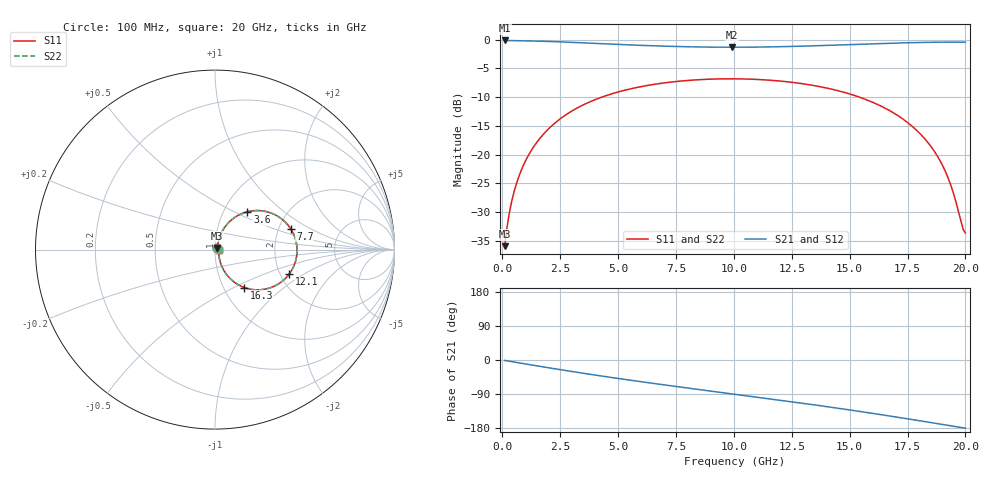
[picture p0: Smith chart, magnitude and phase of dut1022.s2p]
! Touchstone file exported from HFSS 2026.1.0
!  File:  C:/ffzhzh/LocalFiles/Ansys_Project_Files/temp_train_TSV_RDL_1022_1783292739_5512.aedt
!  Generated:  07:15:23 AM Jul  6, 2026
!  Design:  TSV_RDL
!  Project:  temp_train_TSV_RDL_1022_1783292739_5512
! Variables:
!  h_bsmrdl = 5.3um
!  h_ox = 20um
!  h_rdl = 5um
!  h_sub = 51.25um
!  h_tmrdl = 4.6um
!  h_tsv = 51.25um
!  h_via = 3um
!  l_bsmrdl = 672.38um
!  l_sub = 3262.74um
!  l_tmrdl = 179.54um
!  m_sub = 200um
!  pitch = 39.34um
!  r_tsv = 4.07um
!  s_tmrdl = 10um
!  w_bsmrdl = 20.37um
!  w_sub = 500um
!  w_tmrdl = 22.11um
!  x_tsv_center1 = 190.595um
!  x_tsv_center2 = 883.345um
!  x_tsv_center3 = 1084.995um
!  x_tsv_center4 = 1777.745um
!  x_tsv_center5 = 1979.395um
!  x_tsv_center6 = 2672.145um
# GHz S MA R 50.000000
! Terminal data exported
! Port[1] = TM_RDL1_1_T1
! Port[2] = TM_RDL5_1_T1
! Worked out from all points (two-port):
!   200 points, 100 MHz to 20 GHz, reference 50 ohm
!   highest |S21| = -0.11 dB at 100 MHz (marker M1); lowest = -1.3 dB at 9.9 GHz (marker M2)
!   |S21| within 3 dB of the highest: start of sweep to end of sweep
!   lowest |S11| = -36.0 dB at 100 MHz (marker M3), VSWR 1.03, Z = 51.3 + j0.958 ohm
!   |S11| at or under -10 dB: start of sweep to 4.292 GHz; 15.43 GHz to end of sweep
!   |S22| runs from -36.0 to -6.8 dB; largest |S21 - S12| = 1.7e-14
!   S11 on the Smith chart (normalised r, x): 100 MHz: 1.03, +0.02; 3.6 GHz: 1.29, +0.59; 7.7 GHz: 2.32, +0.67; 12.1 GHz: 2.23, -0.75; 16.3 GHz: 1.25, -0.57; 20 GHz: 1.04, -0.00
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0.1  0.01588 36.0  0.9873 -1.1  0.9873 -1.1  0.01588 36.0
! Gamma 0 0 0 0
! Port Impedance 50 0 50 0
0.3  0.03061 59.8  0.9857 -3.2  0.9857 -3.2  0.03061 59.8
0.5  0.04662 66.6  0.9845 -5.3  0.9845 -5.3  0.04662 66.6
0.8  0.07129 69.4  0.9824 -8.4  0.9824 -8.4  0.07129 69.4
1.1  0.09604 69.1  0.9797 -11.4  0.9797 -11.4  0.09604 69.1
2.1  0.1752 62.5  0.9665 -21.5  0.9665 -21.5  0.1752 62.5
3.5  0.2711 50.4  0.9407 -35.1  0.9407 -35.1  0.2711 50.4
3.6  0.2772 49.5  0.9388 -36.0  0.9388 -36.0  0.2772 49.5
5.1  0.3554 36.6  0.9098 -49.6  0.9098 -49.6  0.3554 36.6
6.8  0.4161 22.7  0.8828 -64.1  0.8828 -64.1  0.4161 22.7
7.7  0.4369 15.6  0.8726 -71.5  0.8726 -71.5  0.4369 15.6
9.9  0.4572 -1.4  0.8619 -89.2  0.8619 -89.2  0.4572 -1.4
10.1  0.457 -2.9  0.862 -90.8  0.862 -90.8  0.4569 -2.9
12.1  0.435 -18.3  0.8717 -106.9  0.8717 -106.9  0.435 -18.3
13.4  0.4012 -28.6  0.8857 -117.8  0.8857 -117.8  0.4012 -28.6
16.3  0.2677 -52.2  0.9276 -143.7  0.9276 -143.7  0.2676 -52.2
16.7  0.2431 -55.5  0.9331 -147.5  0.9331 -147.5  0.2431 -55.4
17.9  0.1621 -64.3  0.9468 -159.1  0.9468 -159.1  0.1621 -64.3
18.8  0.09614 -67.9  0.9531 -168.0  0.9531 -168.0  0.09611 -67.8
19.3  0.05909 -64.7  0.9548 -172.9  0.9548 -172.9  0.05907 -64.6
19.9  0.02234 -23.4  0.955 -178.9  0.955 -178.9  0.02238 -23.2
20  0.02067 -3.9  0.9548 -179.9  0.9548 -179.9  0.02072 -3.7
